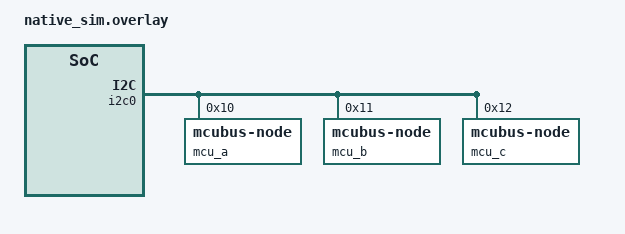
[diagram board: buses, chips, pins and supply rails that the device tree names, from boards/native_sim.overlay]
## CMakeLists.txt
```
# Copyright (c) 2026 Christoph Jans <jans.christoph@gmail.com>
# SPDX-License-Identifier: Apache-2.0

cmake_minimum_required(VERSION 3.20.0)

# One image per MCU: NODE picks the node of boards/native_sim.overlay this image is
set(NODE a CACHE STRING "MCU to build: a, b or c")
list(APPEND DTS_EXTRA_CPPFLAGS -DMCUBUS_SELF_LABEL=mcu_${NODE})

find_package(Zephyr REQUIRED HINTS $ENV{ZEPHYR_BASE})
project(mcubus_stress)

target_sources(app PRIVATE src/main.c)
```

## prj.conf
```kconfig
# Copyright (c) 2026 Christoph Jans <jans.christoph@gmail.com>
# SPDX-License-Identifier: Apache-2.0

# The mcubus (CONFIG_MCUBUS) and the bus port (CONFIG_I2C_MM_EMUL) come with
# the devicetree, boards/native_sim.overlay
CONFIG_I2C=y
CONFIG_LOG=y
CONFIG_LOG_BACKEND_SHOW_COLOR=n
CONFIG_ASSERT=y
CONFIG_CRC=y
CONFIG_ENTROPY_GENERATOR=y

# Settings in NVS on the simulated flash (storage_partition), served to the
# other MCUs by name
CONFIG_FLASH=y
CONFIG_FLASH_MAP=y
CONFIG_NVS=y
CONFIG_SETTINGS=y
CONFIG_SETTINGS_NVS=y
CONFIG_MCUBUS_SETTINGS=y
CONFIG_MAIN_STACK_SIZE=2048
CONFIG_SYSTEM_WORKQUEUE_STACK_SIZE=2048

# The MCUs are processes that meet in wall-clock time
CONFIG_NATIVE_SIM_SLOWDOWN_TO_REAL_TIME=y
```

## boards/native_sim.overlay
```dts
/*
 * Copyright (c) 2026 Christoph Jans <jans.christoph@gmail.com>
 *
 * SPDX-License-Identifier: Apache-2.0
 */

/* The bus on native_sim (zephyr,i2c-mm-emul); MCUBUS_SELF_LABEL is mcu_<NODE> */

/ {
	chosen {
		zephyr,mcubus-self = &MCUBUS_SELF_LABEL;
	};
};

&i2c0 {
	compatible = "zephyr,i2c-mm-emul";
	bus-id = <4>;

	/* The MCUs are processes that the host scheduler wakes up within about a
	 * millisecond of each other: that is what counts as "at the same moment"
	 */
	start-window-us = <2000>;

	mcu_a: mcu-a@10 {
		compatible = "zephyr,mcubus-node";
		reg = <0x10>;
	};

	mcu_b: mcu-b@11 {
		compatible = "zephyr,mcubus-node";
		reg = <0x11>;
	};

	mcu_c: mcu-c@12 {
		compatible = "zephyr,mcubus-node";
		reg = <0x12>;
	};
};
```

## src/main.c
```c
/*
 * Copyright (c) 2026 Christoph Jans <jans.christoph@gmail.com>
 *
 * SPDX-License-Identifier: Apache-2.0
 *
 * Stress test of the mcubus: one MCU of three on a bus of equal peers.
 *
 * This image is one MCU. Its settings (Zephyr settings subsystem, subtree
 * "mcu") are read-only (r) or read/write (rw), and all MCUs get and set them by
 * name over the bus (mcubus/settings.h):
 *
 *   mcu/name       r   the devicetree node of the MCU
 *   mcu/version    r   APP_VERSION
 *   mcu/counter    r   the rounds of this MCU so far
 *   mcu/dump0..2   rw  any bytes, up to MCUBUS_SETTINGS_VALUE_MAX; kept in flash
 *
 * First every MCU pings the others: same protocol version, same limits. Then
 * every round, all MCUs at the very same moment send a random request to a
 * random MCU, maybe themselves, so the requests collide on the bus and the
 * lowest frame wins the arbitration; a little later they send another one. They
 * check the answer:
 *  - name and version are what the devicetree and the build say,
 *  - a counter never goes back, and cannot be set,
 *  - a dump is whole: whoever set it put a CRC into its last byte,
 *  - a setting that does not exist is not there.
 *
 * The MCUs on the bus and their I2C addresses are devicetree
 * (boards/native_sim.overlay, compatible "zephyr,mcubus-node"); the one this
 * image runs on is /chosen zephyr,mcubus-self, picked by -DNODE=<a|b|c>.
 */

#include <stdio.h>
#include <string.h>
#include <zephyr/device.h>
#include <zephyr/kernel.h>
#include <zephyr/spinlock.h>
#include <zephyr/logging/log.h>
#include <zephyr/random/random.h>
#include <zephyr/settings/settings.h>
#include <zephyr/sys/crc.h>

#include <drivers/i2c/i2c_mm_emul.h>
#include <mcubus/mcubus.h>
#include <mcubus/ping.h>
#include <mcubus/settings.h>

LOG_MODULE_REGISTER(main, LOG_LEVEL_INF);

#define I2C_DEV DEVICE_DT_GET(DT_BUS(MCUBUS_SELF))

#define APP_VERSION "1.0.0"
#define DUMPS       3
#define ROUNDS      20
#define PERIOD_MS   100
#define PROBE_ADDR  0x55 /* nobody there */

/* All MCUs on the bus */
#define MCU(node)  DT_REG_ADDR(node),
#define NAME(node) DT_NODE_FULL_NAME(node),

static const uint8_t mcus[] = {DT_FOREACH_STATUS_OKAY(zephyr_mcubus_node, MCU)};
static const char *const names[] = {DT_FOREACH_STATUS_OKAY(zephyr_mcubus_node, NAME)};

#define NUM_MCUS ARRAY_SIZE(mcus)

BUILD_ASSERT(NUM_MCUS > 1, "no other MCU on the bus");

static uint32_t bad; /* checks that failed */

/*
 * The handlers run in the I2C target interrupt for the other MCUs, and in
 * threads for this one (settings_load(), settings_save(), any local use of the
 * settings API): `lock` keeps every value whole.
 */
static struct k_spinlock lock;
static uint32_t counter;
static struct {
	uint8_t len; /* 0: not set */
	uint8_t data[MCUBUS_SETTINGS_VALUE_MAX];
} dumps[DUMPS];

/* "dump<i>" to i, or -1 */
static int dump_index(const char *key)
{
	if (strncmp(key, "dump", 4) == 0 && key[4] >= '0' && key[4] < '0' + DUMPS &&
	    key[5] == '\0') {
		return key[4] - '0';
	}
	return -1;
}

static int mcu_get(const char *key, char *val, int val_len_max)
{
	int i = dump_index(key);
	const void *src = NULL;
	int len = -ENOENT;

	if (settings_name_steq(key, "name", NULL)) {
		src = mcubus_name();
		len = strlen(mcubus_name());
	} else if (settings_name_steq(key, "version", NULL)) {
		src = APP_VERSION;
		len = strlen(APP_VERSION);
	} else if (settings_name_steq(key, "counter", NULL)) {
		src = &counter;
		len = sizeof(counter);
	}

	K_SPINLOCK(&lock) {
		if (i >= 0) {
			src = dumps[i].data;
			len = dumps[i].len > 0 ? dumps[i].len : -ENOENT; /* 0: not set */
		}
		if (len > val_len_max) {
			len = -ENOMEM;
		} else if (len > 0) {
			memcpy(val, src, len);
		}
	}
	return len;
}

/* Called by settings_load() with the stored dumps, and for a SET */
static int mcu_set(const char *key, size_t len, settings_read_cb read_cb, void *cb_arg)
{
	uint8_t data[MCUBUS_SETTINGS_VALUE_MAX];
	int i = dump_index(key);
	ssize_t ret;

	if (settings_name_steq(key, "name", NULL) || settings_name_steq(key, "version", NULL) ||
	    settings_name_steq(key, "counter", NULL)) {
		return -EACCES;
	}
	if (i < 0) {
		return -ENOENT;
	}
	if (len == 0 || len > sizeof(dumps[i].data)) {
		return -EINVAL;
	}
	ret = read_cb(cb_arg, data, len); /* not under the lock: may read flash */
	if (ret < 0) {
		return ret;
	}
	K_SPINLOCK(&lock) {
		memcpy(dumps[i].data, data, len);
		dumps[i].len = len;
	}
	return 0;
}

/* Called by settings_save(): the rw settings go to flash */
static int mcu_export(int (*export_func)(const char *name, const void *val, size_t val_len))
{
	for (int i = 0; i < DUMPS; i++) {
		uint8_t data[MCUBUS_SETTINGS_VALUE_MAX];
		char name[sizeof("mcu/dump0")];
		uint8_t len;

		K_SPINLOCK(&lock) { /* not export_func() under the lock: it writes flash */
			len = dumps[i].len;
			memcpy(data, dumps[i].data, len);
		}

		if (len > 0) {
			snprintf(name, sizeof(name), "mcu/dump%c", '0' + i);
			export_func(name, data, len);
		}
	}
	return 0;
}

SETTINGS_STATIC_HANDLER_DEFINE(mcu, "mcu", mcu_get, mcu_set, NULL, mcu_export);

/*
 * Random number in 0..n-1. Not `% n`: the host random() behind the native_sim
 * entropy driver has a weak lowest bit, and with consecutive seeds all MCUs
 * would draw the same sequence. Bits 8..23 are fine.
 */
static uint32_t rand_below(uint32_t n)
{
	return (((sys_rand32_get() >> 8) & 0xffff) * n) >> 16;
}

static uint8_t dump_crc(const uint8_t *data, int len)
{
	return crc8_ccitt(0x00, data, len - 1);
}

static void check(uint8_t round, uint8_t addr, const char *what, bool ok, int ret)
{
	if (ok) {
		LOG_INF("round %u: 0x%02x %s: %d", round, addr, what, ret);
	} else {
		LOG_ERR("round %u: 0x%02x %s: unexpected %d", round, addr, what, ret);
		bad++;
	}
}

static void random_request(uint8_t round)
{
	static uint32_t last_counter[NUM_MCUS];
	int t = rand_below(NUM_MCUS);
	uint8_t addr = mcus[t];
	uint8_t buf[MCUBUS_SETTINGS_VALUE_MAX + 1] = {0}; /* room for a NUL */
	char dump[sizeof("mcu/dump0")];
	char what[sizeof("get mcu/dump0")];
	uint32_t value = 0;
	int len;
	int ret;

	snprintf(dump, sizeof(dump), "mcu/dump%c", '0' + (int)rand_below(DUMPS));

	switch (rand_below(7)) {
	case 0:
		ret = mcubus_settings_get(addr, "mcu/name", buf, MCUBUS_SETTINGS_VALUE_MAX);
		check(round, addr, "get mcu/name", ret > 0 && strcmp(buf, names[t]) == 0, ret);
		break;
	case 1:
		ret = mcubus_settings_get(addr, "mcu/version", buf, MCUBUS_SETTINGS_VALUE_MAX);
		check(round, addr, "get mcu/version", ret > 0 && strcmp(buf, APP_VERSION) == 0,
		      ret);
		break;
	case 2:
		ret = mcubus_settings_get(addr, "mcu/counter", &value, sizeof(value));
		check(round, addr, "get mcu/counter",
		      ret == sizeof(value) && value >= last_counter[t], ret);
		last_counter[t] = MAX(last_counter[t], value);
		break;
	case 3:
		ret = mcubus_settings_set(addr, "mcu/counter", &value, sizeof(value));
		check(round, addr, "set mcu/counter (read-only)", ret == -EACCES, ret);
		break;
	case 4:
		len = 2 + rand_below(MCUBUS_SETTINGS_VALUE_MAX - 1);
		sys_rand_get(buf, len - 1);
		buf[len - 1] = dump_crc(buf, len);
		ret = mcubus_settings_set(addr, dump, buf, len);
		snprintf(what, sizeof(what), "set %s", dump);
		check(round, addr, what, ret == 0, ret);
		break;
	case 5:
		ret = mcubus_settings_get(addr, dump, buf, MCUBUS_SETTINGS_VALUE_MAX);
		snprintf(what, sizeof(what), "get %s", dump); /* not set, or whole */
		check(round, addr, what,
		      ret == -ENOENT || (ret >= 2 && buf[ret - 1] == dump_crc(buf, ret)), ret);
		break;
	default:
		ret = mcubus_settings_get(addr, "mcu/nothing", buf, MCUBUS_SETTINGS_VALUE_MAX);
		check(round, addr, "get mcu/nothing", ret == -ENOENT, ret);
		break;
	}
}

int main(void)
{
	struct i2c_mm_emul_stats s;
	struct i2c_mm_stats bus;
	uint8_t byte;
	int ret;

	ret = settings_subsys_init();
	if (ret == 0) {
		ret = settings_load();
	}
	if (ret) {
		LOG_ERR("%s: cannot load the settings: %d", mcubus_name(), ret);
		return ret;
	}
	LOG_INF("%s at 0x%02x, version %s; dumps from flash: %u, %u, %u bytes", mcubus_name(),
		mcubus_addr(), APP_VERSION, dumps[0].len, dumps[1].len, dumps[2].len);

	/* Test bench: the other MCUs are processes that start at their own pace */
	ret = i2c_mm_emul_wait_nodes(I2C_DEV, NUM_MCUS);
	if (ret) {
		LOG_ERR("%s: the other MCUs did not show up", mcubus_name());
		return ret;
	}

	/* Every MCU speaks our protocol, with our limits */
	for (int i = 0; i < NUM_MCUS; i++) {
		struct mcubus_info info;

		ret = mcubus_ping(mcus[i], &info);
		check(0, mcus[i], "ping", ret == 0, ret);
	}

	/* The bus must NACK an address nobody has */
	ret = mcubus_settings_get(PROBE_ADDR, "mcu/name", &byte, 1);
	check(0, PROBE_ADDR, "get mcu/name (nobody there)", ret == -EIO, ret);

	for (uint8_t round = 0; round < ROUNDS; round++) {
		i2c_mm_emul_wait_round(I2C_DEV, round, PERIOD_MS);
		K_SPINLOCK(&lock) {
			counter++;
		}
		random_request(round);
		k_msleep(rand_below(PERIOD_MS / 2));
		random_request(round);
	}

	/* After that nobody sends any more: the counts are final */
	ret = i2c_mm_emul_wait_done(I2C_DEV, NUM_MCUS);
	if (ret) {
		LOG_ERR("%s: the other MCUs did not finish", mcubus_name());
		return ret;
	}

	i2c_mm_emul_get_stats(I2C_DEV, &s);
	mcubus_get_stats(&bus);
	LOG_INF("sent %u requests, served %u requests; %u bad; %u retries; lost arbitration %u, "
		"bus timeouts %u, nacks %u, irqs %u",
		bus.sent, bus.served, bad, bus.retries, s.arb_lost, s.bus_timeouts, s.nacks,
		s.irqs);

	/* How much an MCU serves is up to the others: pytest/test_stress.py checks that every
	 * request that was sent was served
	 */
	if (bad == 0) {
		LOG_INF("all settings verified");
	} else {
		LOG_ERR("settings check failed");
	}
	return 0;
}
```
